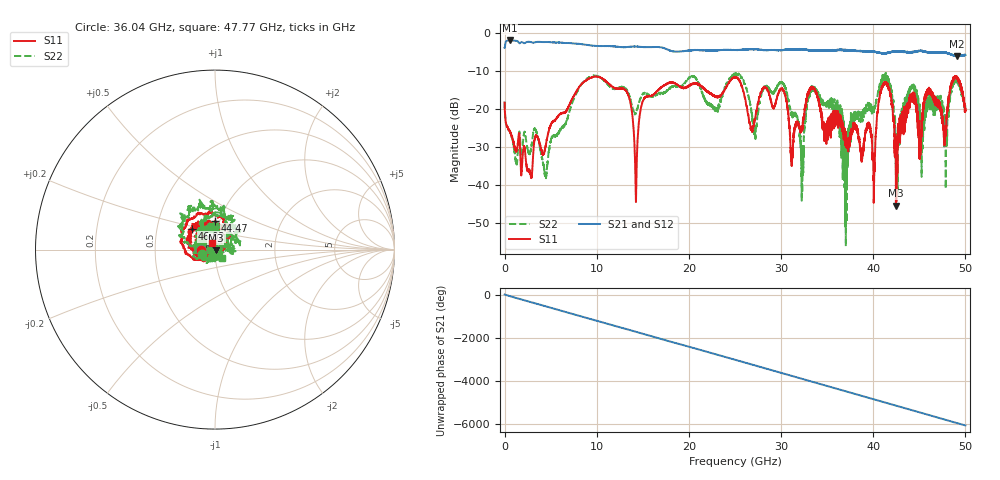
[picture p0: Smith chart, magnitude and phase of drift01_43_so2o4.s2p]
!Created with skrf (http://scikit-rf.org).
# Hz S RI R 50.0
!freq ReS11 ImS11 ReS21 ImS21 ReS12 ImS12 ReS22 ImS22
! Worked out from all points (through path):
!   10001 points, 300 kHz to 50 GHz, reference 50 ohm
!   highest |S21| = -2.00 dB at 570.3 MHz (marker M1); lowest = -6.1 dB at 49.07 GHz (marker M2)
!   group delay of S21, straight-line fit = 336 ps
!   lowest |S11| = -45.3 dB at 42.46 GHz (marker M3), VSWR 1.01, Z = 50.4 - j0.366 ohm
!   |S11| at or under -10 dB: start of sweep to end of sweep
!   |S22| runs from -55.9 to -10.5 dB; largest |S21 - S12| = 0.021
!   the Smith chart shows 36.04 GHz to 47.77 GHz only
!   S11 on the Smith chart (normalised r, x): 36.04 GHz: 0.86, -0.00; 44.47 GHz: 0.95, +0.31; 46.02 GHz: 0.76, +0.18; 47.77 GHz: 0.96, +0.07
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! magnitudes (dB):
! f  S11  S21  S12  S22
! 300 kHz  -18.3  -4.0  -4.1  -18.0
! 570.3 MHz  -26.0  -2.0  -2.0  -26.1
! 4.435 GHz  -29.9  -2.4  -2.4  -37.2
! 8.335 GHz  -13.5  -3.0  -3.0  -13.5
! 13.17 GHz  -15.1  -3.7  -3.7  -14.7
! 14.25 GHz  -44.4  -3.6  -3.6  -21.1
! 16.67 GHz  -15.0  -3.7  -3.7  -15.8
! 25 GHz  -11.6  -4.5  -4.6  -11.0
! 27.14 GHz  -22.5  -4.3  -4.3  -25.9
! 30.2 GHz  -15.1  -4.5  -4.5  -13.3
! 32.25 GHz  -25.0  -4.3  -4.4  -39.1
! 33.34 GHz  -14.3  -4.7  -4.6  -14.7
! 36.04 GHz  -22.3  -4.6  -4.6  -22.3
! 37.03 GHz  -26.9  -4.5  -4.6  -34.4
! 40.02 GHz  -36.7  -4.9  -4.9  -20.7
! 41.67 GHz  -14.4  -5.1  -5.2  -12.7
! 42.46 GHz  -45.3  -4.8  -4.8  -36.1
! 44.47 GHz  -15.9  -5.0  -5.0  -14.4
! 46.02 GHz  -15.4  -5.1  -5.0  -18.5
! 47.77 GHz  -28.2  -5.1  -5.1  -24.2
! 49.07 GHz  -11.6  -6.1  -6.0  -12.7
! 50 GHz  -20.4  -5.8  -5.8  -20.0
